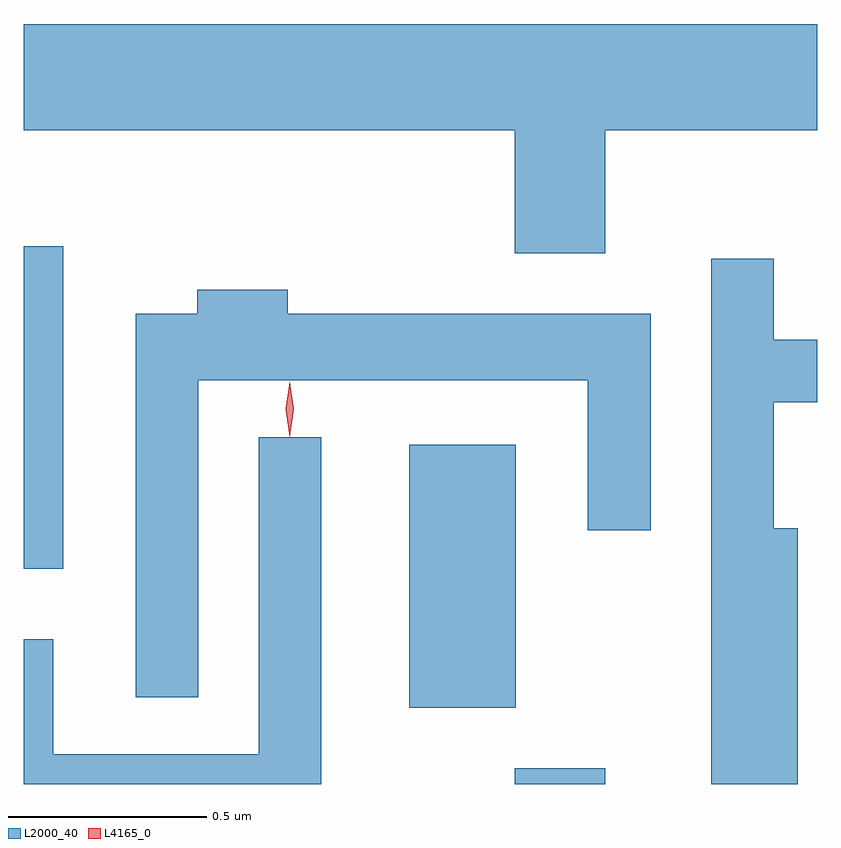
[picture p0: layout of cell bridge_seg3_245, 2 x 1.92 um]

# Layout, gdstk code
import gdstk
lib = gdstk.Library(unit=1e-6, precision=1e-09)
def R(c, l, rs):  # rectangles x0, y0, x1, y1
    for r in rs: c.add(gdstk.rectangle(r[:2], r[2:], *l))
def P(c, l, *ps):  # polygons
    for p in ps: c.add(gdstk.Polygon(p, *l))
L2000_40 = (2000, 40)
L4165_0 = (4165, 0)

bridge_seg3_245 = lib.new_cell('bridge_seg3_245')
R(bridge_seg3_245, L2000_40, [(922.591,1142.129,922.819,1142.169), (922.326,1142.321,922.594,1142.984), (921.354,1142.671,921.454,1143.484)])
P(bridge_seg3_245, L2000_40, [(922.819,1143.776),(923.354,1143.776),(923.354,1144.044),(921.354,1144.044),(921.354,1143.776),(922.591,1143.776),(922.591,1143.466),(922.819,1143.466)],
  [(923.304,1142.774),(923.244,1142.774),(923.244,1143.091),(923.354,1143.091),(923.354,1143.249),(923.244,1143.249),(923.244,1143.453),(923.086,1143.453),(923.086,1142.129),(923.304,1142.129)],
  [(921.794,1143.146),(922.776,1143.146),(922.776,1142.768),(922.934,1142.768),(922.934,1143.314),(922.019,1143.314),(922.019,1143.374),(921.791,1143.374),(921.791,1143.314),(921.636,1143.314),(921.636,1142.348),(921.794,1142.348)],
  [(922.104,1143.003),(921.946,1143.003),(921.946,1142.204),(921.429,1142.204),(921.429,1142.494),(921.354,1142.494),(921.354,1142.129),(922.104,1142.129)])
P(bridge_seg3_245, L4165_0, [(922.024,1143.004),(922.015,1143.073),(922.024,1143.143),(922.025,1143.143),(922.025,1143.143),(922.035,1143.073),(922.025,1143.004),(922.025,1143.004)],
  [(922.024,1143.007),(922.015,1143.074),(922.024,1143.14),(922.025,1143.141),(922.025,1143.14),(922.035,1143.074),(922.025,1143.007),(922.025,1143.007)])

lib.write_gds('bridge_seg3_245.gds')
